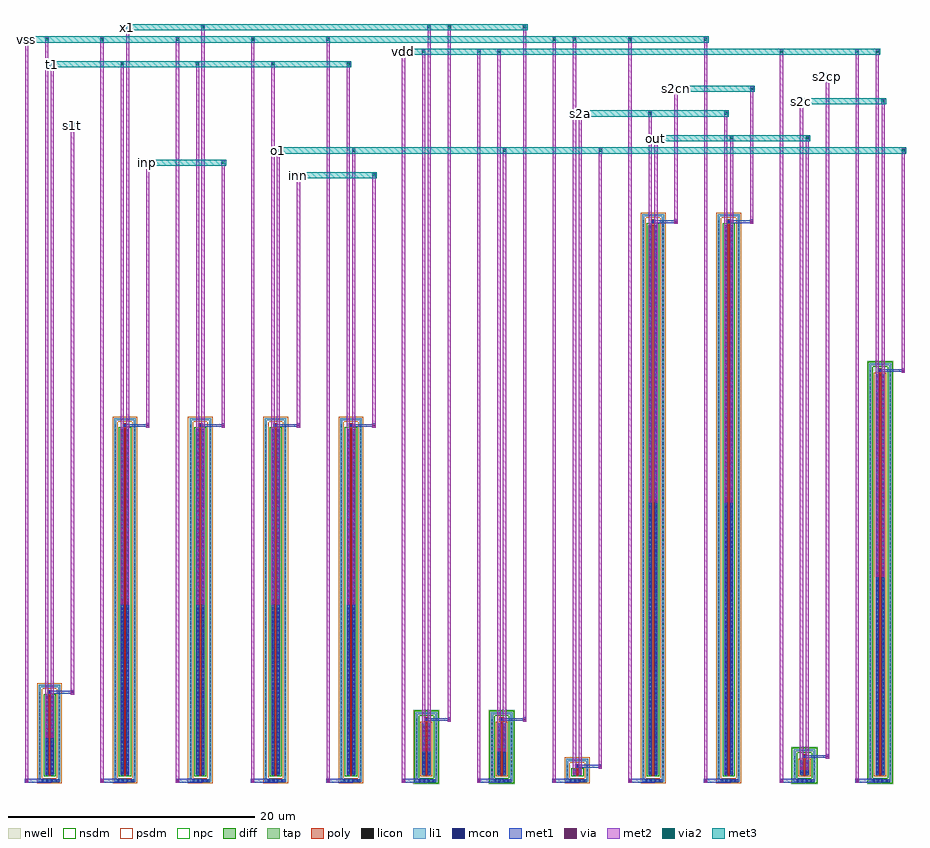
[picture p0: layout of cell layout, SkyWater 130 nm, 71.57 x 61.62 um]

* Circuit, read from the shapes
.subckt layout inn inp o1 out s1t s2a s2c s2cn s2cp t1 vdd vss x1
XM1 t1 s1t vss vss sky130_fd_pr__nfet_01v8 w=6.42 l=0.15
XM2 x1 inp t1 vss sky130_fd_pr__nfet_01v8 w=28.05 l=0.15 m=2
XM3 o1 inn t1 vss sky130_fd_pr__nfet_01v8 w=28.05 l=0.15 m=2
XM4 s2a o1 vss vss sky130_fd_pr__nfet_01v8 w=0.42 l=0.18
XM5 out s2cn s2a vss sky130_fd_pr__nfet_01v8 w=44.58 l=0.18 m=2
XM6 x1 x1 vdd vdd sky130_fd_pr__pfet_01v8 w=4.17 l=0.15
XM7 o1 x1 vdd vdd sky130_fd_pr__pfet_01v8 w=4.17 l=0.15
XM8 out s2cp s2c vdd sky130_fd_pr__pfet_01v8 w=1.17 l=0.18
XM9 s2c o1 vdd vdd sky130_fd_pr__pfet_01v8 w=32.46 l=0.18
.ends

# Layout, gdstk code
import gdstk
lib = gdstk.Library(unit=1e-6, precision=1e-09)
def R(c, l, rs):  # rectangles x0, y0, x1, y1
    for r in rs: c.add(gdstk.rectangle(r[:2], r[2:], *l))
def A(c, l, x, y, w, h, nx, ny, dx, dy):  # array of equal rectangles
    R(c, l, [(x+i*dx, y+j*dy, x+i*dx+w, y+j*dy+h) for i in range(nx) for j in range(ny)])
nwell = (64, 20)
diff = (65, 20)
tap = (65, 44)
poly = (66, 20)
licon = (66, 44)
li1 = (67, 20)
mcon = (67, 44)
met1 = (68, 20)
via = (68, 44)
met2 = (69, 20)
via2 = (69, 44)
met3 = (70, 20)
nsdm = (93, 44)
psdm = (94, 20)
npc = (95, 20)

layout = lib.new_cell('layout')
R(layout, nwell, [(32.55,2,34.66,8.01), (38.66,2,40.77,8.01), (63.19,2,65.33,5.01), (69.33,2,71.47,36.3)])
A(layout, diff, 8.8, 2.74, 0.73, 28.05, 4, 1, 6.11, 0)
R(layout, diff, [(2.69,2.74,3.42,9.16), (33.24,2.74,33.97,6.91), (39.35,2.74,40.08,6.91), (45.46,2.74,46.22,3.16), (51.6,2.74,52.36,47.32), (57.74,2.74,58.5,47.32), (63.88,2.74,64.64,3.91), (70.02,2.74,70.78,35.2)])
A(layout, tap, 2.18, 2.18, 1.75, 0.17, 7, 1, 6.11, 0)
A(layout, tap, 44.95, 2.18, 1.78, 0.17, 5, 1, 6.14, 0)
A(layout, tap, 8.29, 31.49, 1.75, 0.17, 4, 1, 6.11, 0)
R(layout, tap, [(2.18,2.35,2.35,9.86), (3.76,2.35,3.93,9.86), (8.29,2.35,8.46,31.49), (9.87,2.35,10.04,31.49), (14.4,2.35,14.57,31.49), (15.98,2.35,16.15,31.49), (20.51,2.35,20.68,31.49), (22.09,2.35,22.26,31.49), (26.62,2.35,26.79,31.49), (28.2,2.35,28.37,31.49), (32.73,2.35,32.9,7.66), (34.31,2.35,34.48,7.66), (38.84,2.35,39.01,7.66), (40.42,2.35,40.59,7.66), (44.95,2.35,45.12,3.86), (46.56,2.35,46.73,3.86), (51.09,2.35,51.26,48.02), (52.7,2.35,52.87,48.02), (57.23,2.35,57.4,48.02), (58.84,2.35,59.01,48.02), (63.37,2.35,63.54,4.66), (64.98,2.35,65.15,4.66), (69.51,2.35,69.68,35.95), (71.12,2.35,71.29,35.95), (44.95,3.86,46.73,4.03), (63.37,4.66,65.15,4.83), (32.73,7.66,34.48,7.83), (38.84,7.66,40.59,7.83), (2.18,9.86,3.93,10.03), (69.51,35.95,71.29,36.12), (51.09,48.02,52.87,48.19), (57.23,48.02,59.01,48.19)])
A(layout, poly, 9.09, 2.61, 0.15, 28.29, 4, 1, 6.11, 0)
A(layout, poly, 9, 30.9, 0.33, 0.33, 4, 1, 6.11, 0)
R(layout, poly, [(2.98,2.61,3.13,9.27), (33.53,2.61,33.68,7.065), (39.64,2.61,39.79,7.065), (45.75,2.61,45.93,3.27), (51.89,2.61,52.07,47.43), (58.03,2.61,58.21,47.43), (64.17,2.61,64.35,4.065), (70.31,2.61,70.49,35.355), (45.675,3.27,46.005,3.6), (64.095,4.065,64.425,4.395), (33.44,7.065,33.77,7.395), (39.55,7.065,39.88,7.395), (2.89,9.27,3.22,9.6), (70.235,35.355,70.565,35.685), (51.815,47.43,52.145,47.76), (57.955,47.43,58.285,47.76)])
A(layout, licon, 51.09, 2.66, 0.17, 0.17, 1, 133, 0, 0.34)
A(layout, licon, 52.7, 2.66, 0.17, 0.17, 1, 133, 0, 0.34)
A(layout, licon, 57.23, 2.66, 0.17, 0.17, 1, 133, 0, 0.34)
A(layout, licon, 58.84, 2.66, 0.17, 0.17, 1, 133, 0, 0.34)
A(layout, licon, 44.95, 2.68, 0.17, 0.17, 1, 3, 0, 0.34)
A(layout, licon, 46.56, 2.68, 0.17, 0.17, 1, 3, 0, 0.34)
A(layout, licon, 32.73, 2.71, 0.17, 0.17, 1, 14, 0, 0.34)
A(layout, licon, 34.31, 2.71, 0.17, 0.17, 1, 14, 0, 0.34)
A(layout, licon, 38.84, 2.71, 0.17, 0.17, 1, 14, 0, 0.34)
A(layout, licon, 40.42, 2.71, 0.17, 0.17, 1, 14, 0, 0.34)
A(layout, licon, 8.29, 2.725, 0.17, 0.17, 1, 84, 0, 0.34)
A(layout, licon, 9.87, 2.725, 0.17, 0.17, 1, 84, 0, 0.34)
A(layout, licon, 14.4, 2.725, 0.17, 0.17, 1, 84, 0, 0.34)
A(layout, licon, 15.98, 2.725, 0.17, 0.17, 1, 84, 0, 0.34)
A(layout, licon, 20.51, 2.725, 0.17, 0.17, 1, 84, 0, 0.34)
A(layout, licon, 22.09, 2.725, 0.17, 0.17, 1, 84, 0, 0.34)
A(layout, licon, 26.62, 2.725, 0.17, 0.17, 1, 84, 0, 0.34)
A(layout, licon, 28.2, 2.725, 0.17, 0.17, 1, 84, 0, 0.34)
A(layout, licon, 63.37, 2.74, 0.17, 0.17, 1, 5, 0, 0.34)
A(layout, licon, 64.98, 2.74, 0.17, 0.17, 1, 5, 0, 0.34)
A(layout, licon, 69.51, 2.745, 0.17, 0.17, 1, 97, 0, 0.34)
A(layout, licon, 71.12, 2.745, 0.17, 0.17, 1, 97, 0, 0.34)
A(layout, licon, 2.18, 2.79, 0.17, 0.17, 1, 20, 0, 0.34)
A(layout, licon, 3.76, 2.79, 0.17, 0.17, 1, 20, 0, 0.34)
A(layout, licon, 2.75, 2.805, 0.17, 0.17, 1, 19, 0, 0.34)
A(layout, licon, 3.19, 2.805, 0.17, 0.17, 1, 19, 0, 0.34)
A(layout, licon, 51.66, 2.845, 0.17, 0.17, 1, 131, 0, 0.34)
A(layout, licon, 52.13, 2.845, 0.17, 0.17, 1, 131, 0, 0.34)
A(layout, licon, 57.8, 2.845, 0.17, 0.17, 1, 131, 0, 0.34)
A(layout, licon, 58.27, 2.845, 0.17, 0.17, 1, 131, 0, 0.34)
A(layout, licon, 33.3, 2.87, 0.17, 0.17, 1, 12, 0, 0.34)
A(layout, licon, 33.74, 2.87, 0.17, 0.17, 1, 12, 0, 0.34)
A(layout, licon, 39.41, 2.87, 0.17, 0.17, 1, 12, 0, 0.34)
A(layout, licon, 39.85, 2.87, 0.17, 0.17, 1, 12, 0, 0.34)
A(layout, licon, 63.94, 2.9, 0.17, 0.17, 1, 3, 0, 0.34)
A(layout, licon, 64.41, 2.9, 0.17, 0.17, 1, 3, 0, 0.34)
A(layout, licon, 70.08, 2.905, 0.17, 0.17, 1, 95, 0, 0.34)
A(layout, licon, 70.55, 2.905, 0.17, 0.17, 1, 95, 0, 0.34)
A(layout, licon, 8.86, 2.91, 0.17, 0.17, 1, 82, 0, 0.34)
A(layout, licon, 9.3, 2.91, 0.17, 0.17, 1, 82, 0, 0.34)
A(layout, licon, 14.97, 2.91, 0.17, 0.17, 1, 82, 0, 0.34)
A(layout, licon, 15.41, 2.91, 0.17, 0.17, 1, 82, 0, 0.34)
A(layout, licon, 21.08, 2.91, 0.17, 0.17, 1, 82, 0, 0.34)
A(layout, licon, 21.52, 2.91, 0.17, 0.17, 1, 82, 0, 0.34)
A(layout, licon, 27.19, 2.91, 0.17, 0.17, 1, 82, 0, 0.34)
A(layout, licon, 27.63, 2.91, 0.17, 0.17, 1, 82, 0, 0.34)
A(layout, licon, 9.08, 30.98, 0.17, 0.17, 4, 1, 6.11, 0)
R(layout, licon, [(2.8,2.18,2.97,2.35), (3.14,2.18,3.31,2.35), (8.91,2.18,9.08,2.35), (9.25,2.18,9.42,2.35), (15.02,2.18,15.19,2.35), (15.36,2.18,15.53,2.35), (21.13,2.18,21.3,2.35), (21.47,2.18,21.64,2.35), (27.24,2.18,27.41,2.35), (27.58,2.18,27.75,2.35), (33.35,2.18,33.52,2.35), (33.69,2.18,33.86,2.35), (39.46,2.18,39.63,2.35), (39.8,2.18,39.97,2.35), (45.585,2.18,45.755,2.35), (45.925,2.18,46.095,2.35), (51.725,2.18,51.895,2.35), (52.065,2.18,52.235,2.35), (57.865,2.18,58.035,2.35), (58.205,2.18,58.375,2.35), (64.005,2.18,64.175,2.35), (64.345,2.18,64.515,2.35), (70.145,2.18,70.315,2.35), (70.485,2.18,70.655,2.35), (45.52,2.865,45.69,3.035), (45.99,2.865,46.16,3.035), (45.755,3.35,45.925,3.52), (45.585,3.86,45.755,4.03), (45.925,3.86,46.095,4.03), (64.175,4.145,64.345,4.315), (64.005,4.66,64.175,4.83), (64.345,4.66,64.515,4.83), (33.52,7.145,33.69,7.315), (39.63,7.145,39.8,7.315), (33.35,7.66,33.52,7.83), (33.69,7.66,33.86,7.83), (39.46,7.66,39.63,7.83), (39.8,7.66,39.97,7.83), (2.97,9.35,3.14,9.52), (2.8,9.86,2.97,10.03), (3.14,9.86,3.31,10.03), (8.91,31.49,9.08,31.66), (9.25,31.49,9.42,31.66), (15.02,31.49,15.19,31.66), (15.36,31.49,15.53,31.66), (21.13,31.49,21.3,31.66), (21.47,31.49,21.64,31.66), (27.24,31.49,27.41,31.66), (27.58,31.49,27.75,31.66), (70.315,35.435,70.485,35.605), (70.145,35.95,70.315,36.12), (70.485,35.95,70.655,36.12), (51.895,47.51,52.065,47.68), (58.035,47.51,58.205,47.68), (51.725,48.02,51.895,48.19), (52.065,48.02,52.235,48.19), (57.865,48.02,58.035,48.19), (58.205,48.02,58.375,48.19)])
A(layout, li1, 2.18, 2.18, 1.75, 0.17, 7, 1, 6.11, 0)
A(layout, li1, 44.95, 2.18, 1.78, 0.17, 5, 1, 6.14, 0)
A(layout, li1, 9, 30.98, 0.33, 0.17, 4, 1, 6.11, 0)
A(layout, li1, 8.29, 31.49, 1.75, 0.17, 4, 1, 6.11, 0)
R(layout, li1, [(2.18,2.35,2.35,9.86), (3.76,2.35,3.93,9.86), (8.29,2.35,8.46,31.49), (9.87,2.35,10.04,31.49), (14.4,2.35,14.57,31.49), (15.98,2.35,16.15,31.49), (20.51,2.35,20.68,31.49), (22.09,2.35,22.26,31.49), (26.62,2.35,26.79,31.49), (28.2,2.35,28.37,31.49), (32.73,2.35,32.9,7.66), (34.31,2.35,34.48,7.66), (38.84,2.35,39.01,7.66), (40.42,2.35,40.59,7.66), (44.95,2.35,45.12,3.86), (46.56,2.35,46.73,3.86), (51.09,2.35,51.26,48.02), (52.7,2.35,52.87,48.02), (57.23,2.35,57.4,48.02), (58.84,2.35,59.01,48.02), (63.37,2.35,63.54,4.66), (64.98,2.35,65.15,4.66), (69.51,2.35,69.68,35.95), (71.12,2.35,71.29,35.95), (2.75,2.72,2.92,9.18), (3.19,2.72,3.36,9.18), (8.86,2.72,9.03,30.81), (9.3,2.72,9.47,30.81), (14.97,2.72,15.14,30.81), (15.41,2.72,15.58,30.81), (21.08,2.72,21.25,30.81), (21.52,2.72,21.69,30.81), (27.19,2.72,27.36,30.81), (27.63,2.72,27.8,30.81), (33.3,2.72,33.47,6.93), (33.74,2.72,33.91,6.93), (39.41,2.72,39.58,6.93), (39.85,2.72,40.02,6.93), (45.52,2.72,45.69,3.18), (45.99,2.72,46.16,3.18), (51.66,2.72,51.83,47.34), (52.13,2.72,52.3,47.34), (57.8,2.72,57.97,47.34), (58.27,2.72,58.44,47.34), (63.94,2.72,64.11,3.93), (64.41,2.72,64.58,3.93), (70.08,2.72,70.25,35.22), (70.55,2.72,70.72,35.22), (45.675,3.35,46.005,3.52), (44.95,3.86,46.73,4.03), (64.095,4.145,64.425,4.315), (63.37,4.66,65.15,4.83), (33.44,7.145,33.77,7.315), (39.55,7.145,39.88,7.315), (32.73,7.66,34.48,7.83), (38.84,7.66,40.59,7.83), (2.89,9.35,3.22,9.52), (2.18,9.86,3.93,10.03), (70.235,35.435,70.565,35.605), (69.51,35.95,71.29,36.12), (51.815,47.51,52.145,47.68), (57.955,47.51,58.285,47.68), (51.09,48.02,52.87,48.19), (57.23,48.02,59.01,48.19)])
A(layout, mcon, 2.43, 2.18, 0.17, 0.17, 4, 1, 0.36, 0)
A(layout, mcon, 8.54, 2.18, 0.17, 0.17, 4, 1, 0.36, 0)
A(layout, mcon, 14.65, 2.18, 0.17, 0.17, 4, 1, 0.36, 0)
A(layout, mcon, 20.76, 2.18, 0.17, 0.17, 4, 1, 0.36, 0)
A(layout, mcon, 26.87, 2.18, 0.17, 0.17, 4, 1, 0.36, 0)
A(layout, mcon, 32.98, 2.18, 0.17, 0.17, 4, 1, 0.36, 0)
A(layout, mcon, 39.09, 2.18, 0.17, 0.17, 4, 1, 0.36, 0)
A(layout, mcon, 45.215, 2.18, 0.17, 0.17, 4, 1, 0.36, 0)
A(layout, mcon, 51.355, 2.18, 0.17, 0.17, 4, 1, 0.36, 0)
A(layout, mcon, 57.495, 2.18, 0.17, 0.17, 4, 1, 0.36, 0)
A(layout, mcon, 63.635, 2.18, 0.17, 0.17, 4, 1, 0.36, 0)
A(layout, mcon, 69.775, 2.18, 0.17, 0.17, 4, 1, 0.36, 0)
A(layout, mcon, 2.75, 2.805, 0.17, 0.17, 1, 18, 0, 0.36)
A(layout, mcon, 3.19, 2.805, 0.17, 0.17, 1, 18, 0, 0.36)
A(layout, mcon, 51.66, 2.805, 0.17, 0.17, 1, 124, 0, 0.36)
A(layout, mcon, 52.13, 2.805, 0.17, 0.17, 1, 124, 0, 0.36)
A(layout, mcon, 57.8, 2.805, 0.17, 0.17, 1, 124, 0, 0.36)
A(layout, mcon, 58.27, 2.805, 0.17, 0.17, 1, 124, 0, 0.36)
A(layout, mcon, 8.86, 2.82, 0.17, 0.17, 1, 78, 0, 0.36)
A(layout, mcon, 9.3, 2.82, 0.17, 0.17, 1, 78, 0, 0.36)
A(layout, mcon, 14.97, 2.82, 0.17, 0.17, 1, 78, 0, 0.36)
A(layout, mcon, 15.41, 2.82, 0.17, 0.17, 1, 78, 0, 0.36)
A(layout, mcon, 21.08, 2.82, 0.17, 0.17, 1, 78, 0, 0.36)
A(layout, mcon, 21.52, 2.82, 0.17, 0.17, 1, 78, 0, 0.36)
A(layout, mcon, 27.19, 2.82, 0.17, 0.17, 1, 78, 0, 0.36)
A(layout, mcon, 27.63, 2.82, 0.17, 0.17, 1, 78, 0, 0.36)
A(layout, mcon, 70.08, 2.865, 0.17, 0.17, 1, 90, 0, 0.36)
A(layout, mcon, 70.55, 2.865, 0.17, 0.17, 1, 90, 0, 0.36)
A(layout, mcon, 63.94, 2.88, 0.17, 0.17, 1, 3, 0, 0.36)
A(layout, mcon, 64.41, 2.88, 0.17, 0.17, 1, 3, 0, 0.36)
A(layout, mcon, 33.3, 2.94, 0.17, 0.17, 1, 11, 0, 0.36)
A(layout, mcon, 33.74, 2.94, 0.17, 0.17, 1, 11, 0, 0.36)
A(layout, mcon, 39.41, 2.94, 0.17, 0.17, 1, 11, 0, 0.36)
A(layout, mcon, 39.85, 2.94, 0.17, 0.17, 1, 11, 0, 0.36)
A(layout, mcon, 9.08, 30.98, 0.17, 0.17, 4, 1, 6.11, 0)
R(layout, mcon, [(45.52,2.865,45.69,3.035), (45.99,2.865,46.16,3.035), (45.755,3.35,45.925,3.52), (64.175,4.145,64.345,4.315), (33.52,7.145,33.69,7.315), (39.63,7.145,39.8,7.315), (2.97,9.35,3.14,9.52), (70.315,35.435,70.485,35.605), (51.895,47.51,52.065,47.68), (58.035,47.51,58.205,47.68)])
A(layout, met1, 1.07, 2.085, 0.26, 0.03, 8, 2, 6.11, 0.33)
A(layout, met1, 49.98, 2.085, 0.26, 0.03, 4, 2, 6.14, 0.33)
A(layout, met1, 1.05, 2.115, 2.155, 0.035, 7, 2, 6.11, 0.265)
A(layout, met1, 43.82, 2.115, 2.17, 0.035, 5, 2, 6.14, 0.265)
A(layout, met1, 1.05, 2.15, 2.77, 0.23, 7, 1, 6.11, 0)
A(layout, met1, 43.82, 2.15, 2.8, 0.23, 5, 1, 6.14, 0)
A(layout, met1, 10.89, 30.885, 0.26, 0.065, 4, 2, 6.11, 0.295)
A(layout, met1, 9.02, 30.95, 2.13, 0.23, 4, 1, 6.11, 0)
R(layout, met1, [(2.72,2.74,2.95,5.77), (3.16,2.74,3.39,5.77), (8.83,2.74,9.06,16.585), (9.27,2.74,9.5,16.585), (14.94,2.74,15.17,16.585), (15.38,2.74,15.61,16.585), (21.05,2.74,21.28,16.585), (21.49,2.74,21.72,16.585), (27.16,2.74,27.39,16.585), (27.6,2.74,27.83,16.585), (33.27,2.74,33.5,4.645), (33.71,2.74,33.94,4.645), (39.38,2.74,39.61,4.645), (39.82,2.74,40.05,4.645), (45.49,2.74,45.72,2.77), (45.96,2.74,46.19,2.77), (51.63,2.74,51.86,24.85), (52.1,2.74,52.33,24.85), (57.77,2.74,58,24.85), (58.24,2.74,58.47,24.85), (63.91,2.74,64.14,3.145), (64.38,2.74,64.61,3.145), (70.05,2.74,70.28,18.79), (70.52,2.74,70.75,18.79), (45.475,2.77,45.735,3.13), (45.945,2.77,46.205,3.13), (45.49,3.13,45.72,3.16), (45.96,3.13,46.19,3.16), (63.895,3.145,64.155,3.505), (64.365,3.145,64.625,3.505), (47.58,3.255,47.84,3.32), (45.695,3.32,47.84,3.55), (63.91,3.505,64.14,3.91), (64.38,3.505,64.61,3.91), (47.58,3.55,47.84,3.615), (66,4.05,66.26,4.115), (64.115,4.115,66.26,4.345), (66,4.345,66.26,4.41), (33.255,4.645,33.515,5.005), (33.695,4.645,33.955,5.005), (39.365,4.645,39.625,5.005), (39.805,4.645,40.065,5.005), (33.27,5.005,33.5,6.91), (33.71,5.005,33.94,6.91), (39.38,5.005,39.61,6.91), (39.82,5.005,40.05,6.91), (2.705,5.77,2.965,6.13), (3.145,5.77,3.405,6.13), (2.72,6.13,2.95,9.16), (3.16,6.13,3.39,9.16), (35.33,7.05,35.59,7.115), (41.44,7.05,41.7,7.115), (33.46,7.115,35.59,7.345), (39.57,7.115,41.7,7.345), (35.33,7.345,35.59,7.41), (41.44,7.345,41.7,7.41), (4.78,9.255,5.04,9.32), (2.91,9.32,5.04,9.55), (4.78,9.55,5.04,9.615), (8.815,16.585,9.075,16.945), (9.255,16.585,9.515,16.945), (14.925,16.585,15.185,16.945), (15.365,16.585,15.625,16.945), (21.035,16.585,21.295,16.945), (21.475,16.585,21.735,16.945), (27.145,16.585,27.405,16.945), (27.585,16.585,27.845,16.945), (8.83,16.945,9.06,30.79), (9.27,16.945,9.5,30.79), (14.94,16.945,15.17,30.79), (15.38,16.945,15.61,30.79), (21.05,16.945,21.28,30.79), (21.49,16.945,21.72,30.79), (27.16,16.945,27.39,30.79), (27.6,16.945,27.83,30.79), (70.035,18.79,70.295,19.15), (70.505,18.79,70.765,19.15), (70.05,19.15,70.28,35.2), (70.52,19.15,70.75,35.2), (51.615,24.85,51.875,25.21), (52.085,24.85,52.345,25.21), (57.755,24.85,58.015,25.21), (58.225,24.85,58.485,25.21), (51.63,25.21,51.86,47.32), (52.1,25.21,52.33,47.32), (57.77,25.21,58,47.32), (58.24,25.21,58.47,47.32), (72.14,35.34,72.4,35.405), (70.255,35.405,72.4,35.635), (72.14,35.635,72.4,35.7), (53.72,47.415,53.98,47.48), (59.86,47.415,60.12,47.48), (51.835,47.48,53.98,47.71), (57.975,47.48,60.12,47.71), (53.72,47.71,53.98,47.775), (59.86,47.71,60.12,47.775)])
A(layout, via, 1.125, 2.19, 0.15, 0.15, 8, 1, 6.11, 0)
A(layout, via, 50.035, 2.19, 0.15, 0.15, 4, 1, 6.14, 0)
A(layout, via, 10.945, 30.99, 0.15, 0.15, 4, 1, 6.11, 0)
R(layout, via, [(45.53,2.875,45.68,3.025), (46,2.875,46.15,3.025), (63.95,3.25,64.1,3.4), (64.42,3.25,64.57,3.4), (47.635,3.36,47.785,3.51), (66.055,4.155,66.205,4.305), (33.31,4.75,33.46,4.9), (33.75,4.75,33.9,4.9), (39.42,4.75,39.57,4.9), (39.86,4.75,40.01,4.9), (2.76,5.875,2.91,6.025), (3.2,5.875,3.35,6.025), (35.385,7.155,35.535,7.305), (41.495,7.155,41.645,7.305), (4.835,9.36,4.985,9.51), (8.87,16.69,9.02,16.84), (9.31,16.69,9.46,16.84), (14.98,16.69,15.13,16.84), (15.42,16.69,15.57,16.84), (21.09,16.69,21.24,16.84), (21.53,16.69,21.68,16.84), (27.2,16.69,27.35,16.84), (27.64,16.69,27.79,16.84), (70.09,18.895,70.24,19.045), (70.56,18.895,70.71,19.045), (51.67,24.955,51.82,25.105), (52.14,24.955,52.29,25.105), (57.81,24.955,57.96,25.105), (58.28,24.955,58.43,25.105), (72.195,35.445,72.345,35.595), (53.775,47.52,53.925,47.67), (59.915,47.52,60.065,47.67)])
A(layout, met2, 1.07, 2.085, 0.26, 60.095, 5, 1, 6.11, 0)
A(layout, met2, 43.84, 2.085, 0.26, 60.095, 3, 1, 6.14, 0)
A(layout, met2, 8.815, 16.585, 0.26, 43.595, 4, 1, 6.11, 0)
A(layout, met2, 52.075, 54.18, 0.28, 0.38, 3, 1, 6.14, 0)
A(layout, met2, 8.805, 60.18, 0.28, 0.38, 4, 1, 6.11, 0)
A(layout, met2, 7.17, 62.18, 0.28, 0.38, 4, 1, 6.11, 0)
R(layout, met2, [(31.62,2.085,31.88,61.18), (37.73,2.085,37.99,61.18), (62.26,2.085,62.52,61.18), (68.4,2.085,68.66,61.18), (45.475,2.77,45.735,62.18), (45.945,2.77,46.205,56.18), (63.895,3.145,64.155,57.18), (64.365,3.145,64.625,54.18), (47.58,3.255,47.84,53.18), (66,4.05,66.26,59.18), (33.255,4.645,33.515,61.18), (33.695,4.645,33.955,63.18), (39.365,4.645,39.625,61.18), (39.805,4.645,40.065,53.18), (2.705,5.77,2.965,62.18), (3.145,5.77,3.405,60.18), (35.33,7.05,35.59,63.18), (41.44,7.05,41.7,63.18), (4.78,9.255,5.04,55.18), (9.255,16.585,9.515,63.18), (15.365,16.585,15.625,63.18), (21.475,16.585,21.735,53.18), (27.585,16.585,27.845,53.18), (70.035,18.79,70.295,61.18), (70.505,18.79,70.765,57.18), (51.615,24.85,51.875,56.18), (52.085,24.85,52.345,54.18), (57.755,24.85,58.015,56.18), (58.225,24.85,58.485,54.18), (10.89,30.885,11.15,52.18), (17,30.885,17.26,52.18), (23.11,30.885,23.37,51.18), (29.22,30.885,29.48,51.18), (72.14,35.34,72.4,53.18), (53.72,47.415,53.98,58.18), (59.86,47.415,60.12,58.18), (23.1,51.18,23.38,51.56), (29.21,51.18,29.49,51.56), (10.88,52.18,11.16,52.56), (16.99,52.18,17.27,52.56), (21.465,53.18,21.745,53.56), (27.575,53.18,27.855,53.56), (39.795,53.18,40.075,53.56), (47.57,53.18,47.85,53.56), (72.13,53.18,72.41,53.56), (4.77,55.18,5.05,55.56), (45.935,56.18,46.215,56.56), (51.605,56.18,51.885,56.56), (57.745,56.18,58.025,56.56), (63.885,57.18,64.165,57.56), (70.495,57.18,70.775,57.56), (53.71,58.18,53.99,58.56), (59.85,58.18,60.13,58.56), (65.99,59.18,66.27,59.56), (3.135,60.18,3.415,60.56), (31.61,61.18,31.89,61.56), (33.245,61.18,33.525,61.56), (37.72,61.18,38,61.56), (39.355,61.18,39.635,61.56), (62.25,61.18,62.53,61.56), (68.39,61.18,68.67,61.56), (70.025,61.18,70.305,61.56), (1.06,62.18,1.34,62.56), (2.695,62.18,2.975,62.56), (43.83,62.18,44.11,62.56), (45.465,62.18,45.745,62.56), (49.97,62.18,50.25,62.56), (56.11,62.18,56.39,62.56), (9.245,63.18,9.525,63.56), (15.355,63.18,15.635,63.56), (33.685,63.18,33.965,63.56), (35.32,63.18,35.6,63.56), (41.43,63.18,41.71,63.56)])
A(layout, via2, 52.115, 54.27, 0.2, 0.2, 3, 1, 6.14, 0)
A(layout, via2, 8.845, 60.27, 0.2, 0.2, 4, 1, 6.11, 0)
A(layout, via2, 7.21, 62.27, 0.2, 0.2, 4, 1, 6.11, 0)
R(layout, via2, [(23.14,51.27,23.34,51.47), (29.25,51.27,29.45,51.47), (10.92,52.27,11.12,52.47), (17.03,52.27,17.23,52.47), (21.505,53.27,21.705,53.47), (27.615,53.27,27.815,53.47), (39.835,53.27,40.035,53.47), (47.61,53.27,47.81,53.47), (72.17,53.27,72.37,53.47), (4.81,55.27,5.01,55.47), (45.975,56.27,46.175,56.47), (51.645,56.27,51.845,56.47), (57.785,56.27,57.985,56.47), (63.925,57.27,64.125,57.47), (70.535,57.27,70.735,57.47), (53.75,58.27,53.95,58.47), (59.89,58.27,60.09,58.47), (66.03,59.27,66.23,59.47), (3.175,60.27,3.375,60.47), (31.65,61.27,31.85,61.47), (33.285,61.27,33.485,61.47), (37.76,61.27,37.96,61.47), (39.395,61.27,39.595,61.47), (62.29,61.27,62.49,61.47), (68.43,61.27,68.63,61.47), (70.065,61.27,70.265,61.47), (1.1,62.27,1.3,62.47), (2.735,62.27,2.935,62.47), (43.87,62.27,44.07,62.47), (45.505,62.27,45.705,62.47), (50.01,62.27,50.21,62.47), (56.15,62.27,56.35,62.47), (9.285,63.27,9.485,63.47), (15.395,63.27,15.595,63.47), (33.725,63.27,33.925,63.47), (35.36,63.27,35.56,63.47), (41.47,63.27,41.67,63.47)])
R(layout, met3, [(22.99,51.12,29.6,51.62), (10.77,52.12,17.38,52.62), (21.355,53.12,72.52,53.62), (51.965,54.12,64.745,54.62), (4.66,55.12,5.16,55.62), (45.825,56.12,58.135,56.62), (63.775,57.12,70.885,57.62), (53.6,58.12,60.24,58.62), (65.88,59.12,66.38,59.62), (3.025,60.12,27.525,60.62), (31.5,61.12,70.415,61.62), (0.95,62.12,56.5,62.62), (9.135,63.12,41.82,63.62)])
A(layout, nsdm, 8.675, 2.615, 0.98, 28.3, 4, 1, 6.11, 0)
R(layout, nsdm, [(32.605,2.055,34.605,2.475), (38.715,2.055,40.715,2.475), (63.245,2.055,65.275,2.475), (69.385,2.055,71.415,2.475), (32.605,2.475,33.025,7.535), (34.185,2.475,34.605,7.535), (38.715,2.475,39.135,7.535), (40.295,2.475,40.715,7.535), (63.245,2.475,63.665,4.535), (64.855,2.475,65.275,4.535), (69.385,2.475,69.805,35.825), (70.995,2.475,71.415,35.825), (2.565,2.615,3.545,9.285), (45.335,2.615,46.345,3.285), (51.475,2.615,52.485,47.445), (57.615,2.615,58.625,47.445), (63.245,4.535,65.275,4.955), (32.605,7.535,34.605,7.955), (38.715,7.535,40.715,7.955), (69.385,35.825,71.415,36.245)])
A(layout, psdm, 2.055, 2.055, 2, 0.42, 5, 1, 6.11, 0)
A(layout, psdm, 44.825, 2.055, 2.03, 0.42, 3, 1, 6.14, 0)
A(layout, psdm, 8.165, 31.365, 2, 0.42, 4, 1, 6.11, 0)
R(layout, psdm, [(2.055,2.475,2.475,9.735), (3.635,2.475,4.055,9.735), (8.165,2.475,8.585,31.365), (9.745,2.475,10.165,31.365), (14.275,2.475,14.695,31.365), (15.855,2.475,16.275,31.365), (20.385,2.475,20.805,31.365), (21.965,2.475,22.385,31.365), (26.495,2.475,26.915,31.365), (28.075,2.475,28.495,31.365), (44.825,2.475,45.245,3.735), (46.435,2.475,46.855,3.735), (50.965,2.475,51.385,47.895), (52.575,2.475,52.995,47.895), (57.105,2.475,57.525,47.895), (58.715,2.475,59.135,47.895), (33.115,2.615,34.095,7.035), (39.225,2.615,40.205,7.035), (63.755,2.615,64.765,4.035), (69.895,2.615,70.905,35.325), (44.825,3.735,46.855,4.155), (2.055,9.735,4.055,10.155), (50.965,47.895,52.995,48.315), (57.105,47.895,59.135,48.315)])
A(layout, npc, 8.98, 30.88, 0.37, 0.37, 4, 1, 6.11, 0)
R(layout, npc, [(45.655,3.25,46.025,3.62), (64.075,4.045,64.445,4.415), (33.42,7.045,33.79,7.415), (39.53,7.045,39.9,7.415), (2.87,9.25,3.24,9.62), (70.215,35.335,70.585,35.705), (51.795,47.41,52.165,47.78), (57.935,47.41,58.305,47.78)])
layout.add(gdstk.Label('inn', (23.24,51.37), layer=70, texttype=5))
layout.add(gdstk.Label('inp', (11.02,52.37), layer=70, texttype=5))
layout.add(gdstk.Label('o1', (21.605,53.37), layer=70, texttype=5))
layout.add(gdstk.Label('out', (52.215,54.37), layer=70, texttype=5))
layout.add(gdstk.Label('s1t', (4.91,55.37), layer=70, texttype=5))
layout.add(gdstk.Label('s2a', (46.075,56.37), layer=70, texttype=5))
layout.add(gdstk.Label('s2c', (64.025,57.37), layer=70, texttype=5))
layout.add(gdstk.Label('s2cn', (53.85,58.37), layer=70, texttype=5))
layout.add(gdstk.Label('s2cp', (66.13,59.37), layer=70, texttype=5))
layout.add(gdstk.Label('t1', (3.275,60.37), layer=70, texttype=5))
layout.add(gdstk.Label('vdd', (31.75,61.37), layer=70, texttype=5))
layout.add(gdstk.Label('vss', (1.2,62.37), layer=70, texttype=5))
layout.add(gdstk.Label('x1', (9.385,63.37), layer=70, texttype=5))

lib.write_gds('layout.gds')
